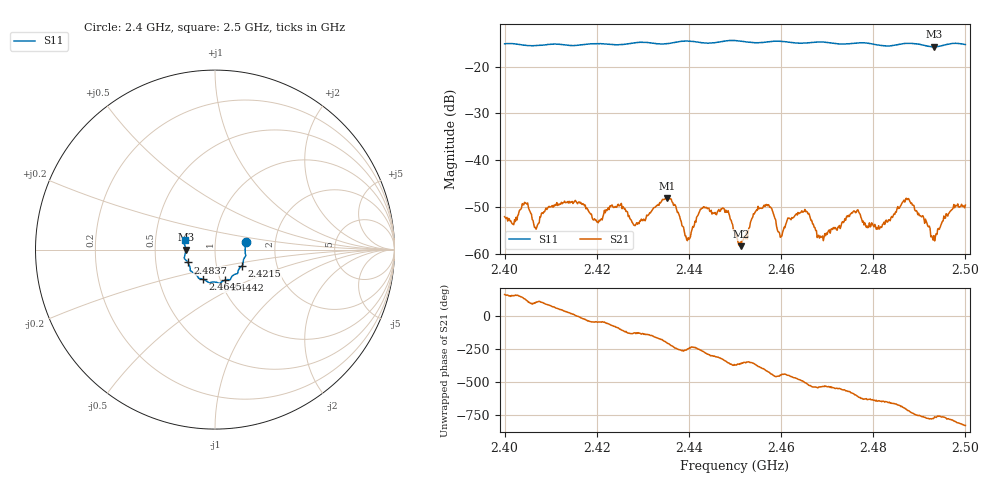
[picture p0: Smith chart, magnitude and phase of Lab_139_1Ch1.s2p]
# Hz S RI R 50
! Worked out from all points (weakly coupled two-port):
!   601 points, 2.4 GHz to 2.5 GHz, reference 50 ohm
!   highest |S21| = -48.14 dB at 2.4352 GHz (marker M1); lowest = -58.4 dB at 2.4513 GHz (marker M2)
!   lowest |S11| = -15.7 dB at 2.4932 GHz (marker M3), VSWR 1.39, Z = 36 - j0.0497 ohm
!   |S11| at or under -10 dB: start of sweep to end of sweep
!   S12 and S22 are empty: the file has one direction only
!   S11 on the Smith chart (normalised r, x): 2.4 GHz: 1.41, +0.12; 2.4215 GHz: 1.33, -0.25; 2.4442 GHz: 1.05, -0.37; 2.4645 GHz: 0.83, -0.29; 2.4837 GHz: 0.73, -0.11; 2.5 GHz: 0.71, +0.07
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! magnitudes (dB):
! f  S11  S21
! 2.4 GHz  -15.1  -52.1
! 2.4167 GHz  -15.3  -49.4
! 2.4215 GHz  -15.1  -51.6
! 2.4285 GHz  -14.9  -53.7
! 2.4333 GHz  -15.1  -49.5
! 2.4352 GHz  -15.1  -48.1
! 2.4397 GHz  -14.5  -57.2
! 2.4442 GHz  -15.0  -50.3
! 2.45 GHz  -14.4  -55.5
! 2.4513 GHz  -14.5  -58.4
! 2.4552 GHz  -14.9  -50.4
! 2.4577 GHz  -14.6  -50.0
! 2.4598 GHz  -14.6  -56.5
! 2.4645 GHz  -15.0  -50.8
! 2.4667 GHz  -14.8  -52.9
! 2.4688 GHz  -14.7  -56.4
! 2.4762 GHz  -15.0  -51.3
! 2.4833 GHz  -15.6  -52.8
! 2.4837 GHz  -15.5  -53.0
! 2.4875 GHz  -15.0  -48.2
! 2.4932 GHz  -15.7  -56.2
! 2.5 GHz  -15.3  -49.6
